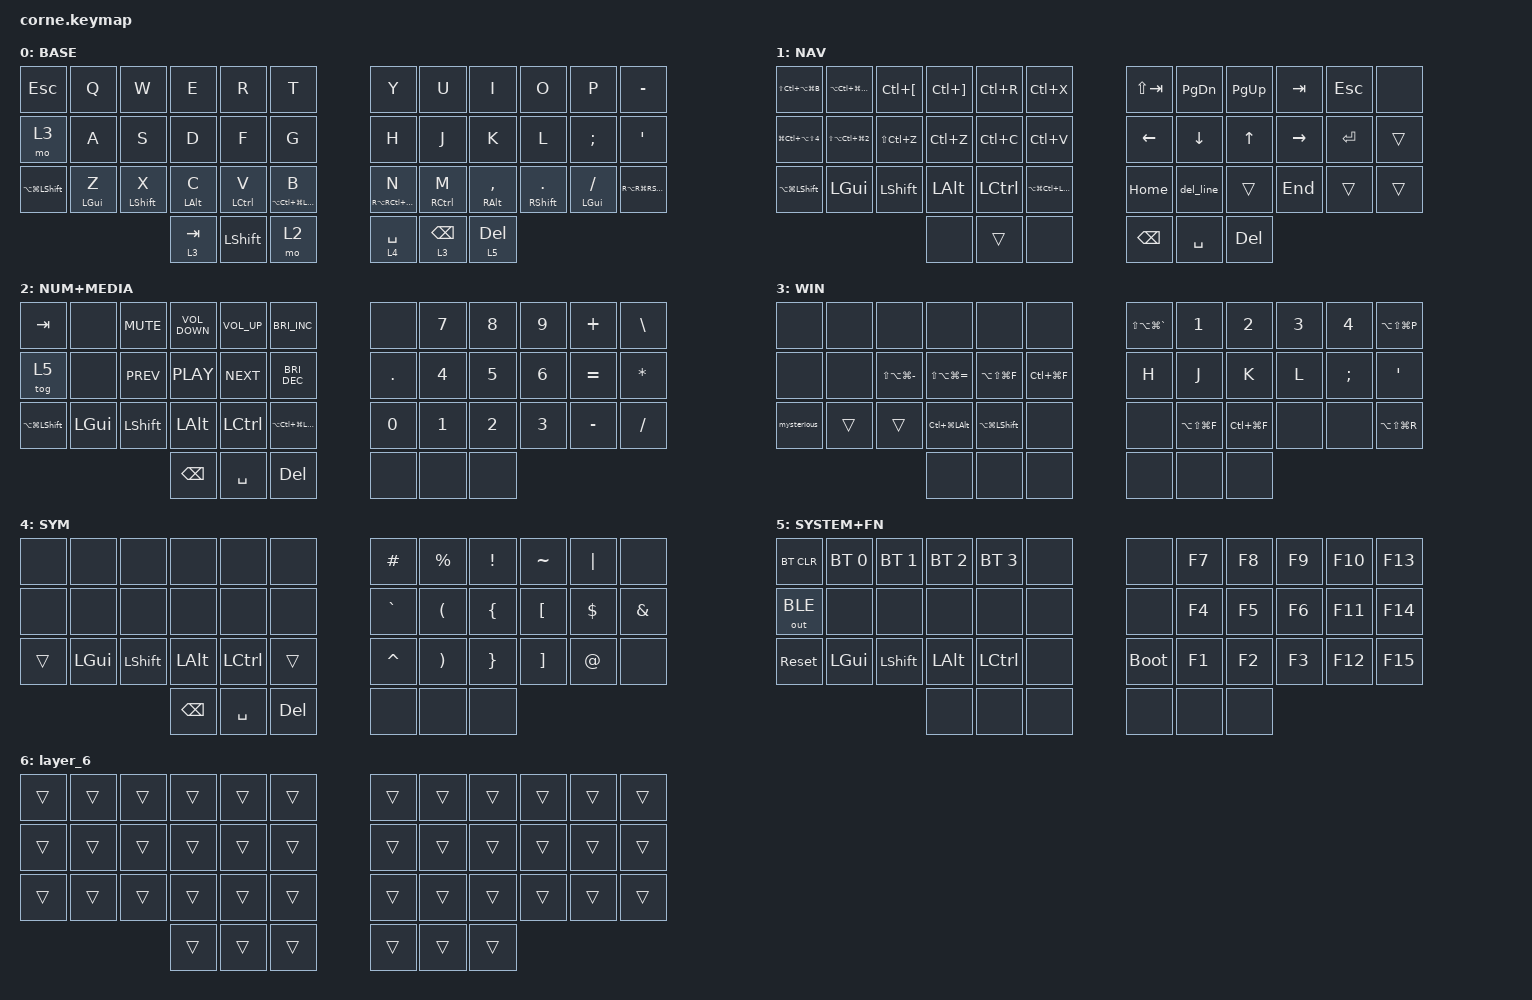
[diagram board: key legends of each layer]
/*
 * Copyright (c) 2020 The ZMK Contributors
 *
 * SPDX-License-Identifier: MIT
 */

#include <behaviors.dtsi>
#include <dt-bindings/zmk/bt.h>
#include <dt-bindings/zmk/keys.h>
#include <dt-bindings/zmk/outputs.h>

&mt {
    flavor = "balanced";
    tapping-term-ms = <180>;
};

/ {
    combos {
        compatible = "zmk,combos";

        Return {
            bindings = <&kp RETURN>;
            key-positions = <22 21 20>;
        };

        escape {
            bindings = <&kp ESCAPE>;
            key-positions = <22 21 20 19>;
        };

        del_word {
            bindings = <&kp LA(BACKSPACE)>;
            key-positions = <37 40>;
        };

        backpage {
            bindings = <&kp LC(LEFT_BRACKET)>;
            key-positions = <15 16 14>;
        };

        forwardPage {
            bindings = <&kp LC(RIGHT_BRACKET)>;
            key-positions = <17 15 16>;
        };

        capsLock {
            bindings = <&kp CAPSLOCK>;
            key-positions = <33 32 27 26>;
        };

        tab {
            bindings = <&kp TAB>;
            key-positions = <19 20 21>;
        };

        backTab {
            bindings = <&kp LS(TAB)>;
            key-positions = <18 19 20>;
        };

        HomeRowApp {
            bindings = <&kp LC(LA(LS(LG(F))))>;
            key-positions = <16 38>;
        };

        Dictation_bound_to_hyper_b {
            bindings = <&kp LS(LG(LC(LA(B))))>;
            key-positions = <13 14 15>;
        };

        LeaderKey {
            bindings = <&kp LS(LA(LG(RIGHT)))>;
            key-positions = <38 39>;
        };

        mousless {
            bindings = <&kp LA(LC(LS(LG(RIGHT))))>;
            key-positions = <39 19>;
        };

        W_forwardPage {
            bindings = <&kp LA(RIGHT_ARROW)>;
            key-positions = <4 3 5>;
        };

        W_backPage {
            bindings = <&kp LA(LEFT_ARROW)>;
            key-positions = <4 3 2>;
        };

        delLine {
            bindings = <&kp LC(BACKSPACE)>;
            key-positions = <36 41>;
        };
    };

    macros {
        del_line: del_line {
            compatible = "zmk,behavior-macro";
            #binding-cells = <0>;
            bindings = <&macro_tap>, <&kp END &kp LS(HOME) &kp BACKSPACE>;

            label = "DEL_LINE";
        };

        mysterious: mysterious {
            compatible = "zmk,behavior-macro";
            #binding-cells = <0>;
            bindings =
                <&macro_tap>,
                <&kp P &kp R &kp I &kp N &kp T &kp SEMI &kp S &kp T &kp A &kp R &kp R &kp Y &kp N0 &kp SEMI &kp C &kp H &kp E &kp E &kp R>;

            label = "MYSTERIOUS";
        };
    };

    keymap {
        compatible = "zmk,keymap";

        BASE {
            // -----------------------------------------------------------------------------------------
            // |  TAB |  Q  |  W  |  E  |  R  |  T  |   |  Y  |  U   |  I  |  O  |  P  | BKSP |
            // | CTRL |  A  |  S  |  D  |  F  |  G  |   |  H  |  J   |  K  |  L  |  ;  |  '   |
            // | SHFT |  Z  |  X  |  C  |  V  |  B  |   |  N  |  M   |  ,  |  .  |  /  | ESC  |
            //                    | GUI | LWR | SPC |   | ENT | RSE  | ALT |

            bindings = <
&kp ESCAPE              &kp Q           &kp W             &kp E           &kp R               &kp T                           &kp Y                          &kp U                &kp I                &kp O                   &kp P               &kp MINUS
&mo 3                   &kp A           &kp S             &kp D           &kp F               &kp G                           &kp H                          &kp J                &kp K                &kp L                   &kp SEMI            &kp SQT
&kp LA(LG(LEFT_SHIFT))  &mt LEFT_GUI Z  &mt LEFT_SHIFT X  &mt LEFT_ALT C  &mt LEFT_CONTROL V  &mt LA(LC(LG(LEFT_SHIFT))) B    &mt RA(RC(RG(RIGHT_SHIFT))) N  &mt RIGHT_CONTROL M  &mt RIGHT_ALT COMMA  &mt RIGHT_SHIFT PERIOD  &mt LEFT_GUI SLASH  &kp RA(RG(RIGHT_SHIFT))
                                                          &lt 3 TAB       &kp LEFT_SHIFT      &mo 2                           &lt 4 SPACE                    &lt 3 BACKSPACE      &lt 5 DELETE
            >;
        };

        NAV {
            // -----------------------------------------------------------------------------------------
            // |  TAB |  1  |  2  |  3  |  4  |  5  |   |  6  |  7  |  8  |  9  |  0  | BKSP |
            // | BTCLR| BT1 | BT2 | BT3 | BT4 | BT5 |   | LFT | DWN |  UP | RGT |     |      |
            // | SHFT |     |     |     |     |     |   |     |     |     |     |     |      |
            //                    | GUI |     | SPC |   | ENT |     | ALT |

            bindings = <
&kp LS(LC(LA(LG(B))))         &kp LA(LC(LG(RS(TILDE))))     &kp LC(LEFT_BRACKET)  &kp LC(RIGHT_BRACKET)  &kp LC(R)         &kp LC(X)                 &kp LS(TAB)    &kp PAGE_DOWN  &kp PAGE_UP  &kp TAB    &kp ESCAPE  &none
&kp LG(LC(LA(LS(NUMBER_4))))  &kp LS(LA(LC(LG(NUMBER_2))))  &kp LS(LC(Z))         &kp LC(Z)              &kp LC(C)         &kp LC(V)                 &kp LEFT       &kp DOWN       &kp UP       &kp RIGHT  &kp RET     &trans
&kp LA(LG(LEFT_SHIFT))        &kp LEFT_GUI                  &kp LEFT_SHIFT        &kp LEFT_ALT           &kp LEFT_CONTROL  &kp LA(LG(LC(LSHIFT)))    &kp HOME       &del_line      &trans       &kp END    &trans      &trans
                                                                                  &none                  &trans            &none                     &kp BACKSPACE  &kp SPACE      &kp DELETE
            >;
        };

        NUM+MEDIA {
            // -----------------------------------------------------------------------------------------
            // |  TAB |  !  |  @  |  #  |  $  |  %  |   |  ^  |  &  |  *  |  (  |  )  | BKSP |
            // | CTRL |     |     |     |     |     |   |  -  |  =  |  [  |  ]  |  \  |  `   |
            // | SHFT |     |     |     |     |     |   |  _  |  +  |  {  |  }  | "|" |  ~   |
            //                    | GUI |     | SPC |   | ENT |     | ALT |

            bindings = <
&kp TAB                 &none         &kp K_MUTE      &kp C_VOLUME_DOWN  &kp C_VOLUME_UP   &kp C_BRIGHTNESS_INC          &none       &kp N7  &kp N8  &kp N9  &kp PLUS   &kp BACKSLASH
&tog 5                  &none         &kp K_PREV      &kp C_PLAY         &kp C_NEXT        &kp C_BRIGHTNESS_DEC          &kp PERIOD  &kp N4  &kp N5  &kp N6  &kp EQUAL  &kp ASTERISK
&kp LA(LG(LEFT_SHIFT))  &kp LEFT_GUI  &kp LEFT_SHIFT  &kp LEFT_ALT       &kp LEFT_CONTROL  &kp LA(LC(LG(LEFT_SHIFT)))    &kp N0      &kp N1  &kp N2  &kp N3  &kp MINUS  &kp FSLH
                                                      &kp BACKSPACE      &kp SPACE         &kp DEL                       &none       &none   &none
            >;
        };

        WIN {
            bindings = <
&none        &none   &none                  &none                  &none                   &none            &kp LS(LA(LG(GRAVE)))  &kp N1             &kp N2         &kp N3  &kp N4         &kp LA(LS(LG(P)))
&none        &none   &kp LS(LA(LG(MINUS)))  &kp LS(LA(LG(EQUAL)))  &kp LA(LS(LG(F)))       &kp LC(LG(F))    &kp H                  &kp J              &kp K          &kp L   &kp SEMICOLON  &kp SQT
&mysterious  &trans  &trans                 &kp LC(LG(LEFT_ALT))   &kp LA(LG(LEFT_SHIFT))  &none            &none                  &kp LA(LS(LG(F)))  &kp LC(LG(F))  &none   &none          &kp LA(LS(LG(R)))
                                            &none                  &none                   &none            &none                  &none              &none
            >;
        };

        SYM {
            bindings = <
&none   &none         &none           &none          &none             &none      &kp POUND  &kp PERCENT            &kp EXCLAMATION  &kp TILDE          &kp PIPE    &none
&none   &none         &none           &none          &none             &none      &kp GRAVE  &kp LEFT_PARENTHESIS   &kp LEFT_BRACE   &kp LEFT_BRACKET   &kp DOLLAR  &kp AMPERSAND
&trans  &kp LEFT_GUI  &kp LEFT_SHIFT  &kp LEFT_ALT   &kp LEFT_CONTROL  &trans     &kp CARET  &kp RIGHT_PARENTHESIS  &kp RIGHT_BRACE  &kp RIGHT_BRACKET  &kp AT      &none
                                      &kp BACKSPACE  &kp SPACE         &kp DEL    &none      &none                  &none
            >;
        };

        SYSTEM+FN {
            bindings = <
&bt BT_CLR    &bt BT_SEL 0  &bt BT_SEL 1    &bt BT_SEL 2  &bt BT_SEL 3      &none    &none        &kp F7  &kp F8  &kp F9  &kp F10  &kp F13
&out OUT_BLE  &none         &none           &none         &none             &none    &none        &kp F4  &kp F5  &kp F6  &kp F11  &kp F14
&sys_reset    &kp LEFT_GUI  &kp LEFT_SHIFT  &kp LEFT_ALT  &kp LEFT_CONTROL  &none    &bootloader  &kp F1  &kp F2  &kp F3  &kp F12  &kp F15
                                            &none         &none             &none    &none        &none   &none
            >;
        };

        layer_6 {
            bindings = <
&trans  &trans  &trans  &trans  &trans  &trans    &trans  &trans  &trans  &trans  &trans  &trans
&trans  &trans  &trans  &trans  &trans  &trans    &trans  &trans  &trans  &trans  &trans  &trans
&trans  &trans  &trans  &trans  &trans  &trans    &trans  &trans  &trans  &trans  &trans  &trans
                        &trans  &trans  &trans    &trans  &trans  &trans
            >;
        };
    };

    conditional_layers { compatible = "zmk,conditional-layers"; };
};
